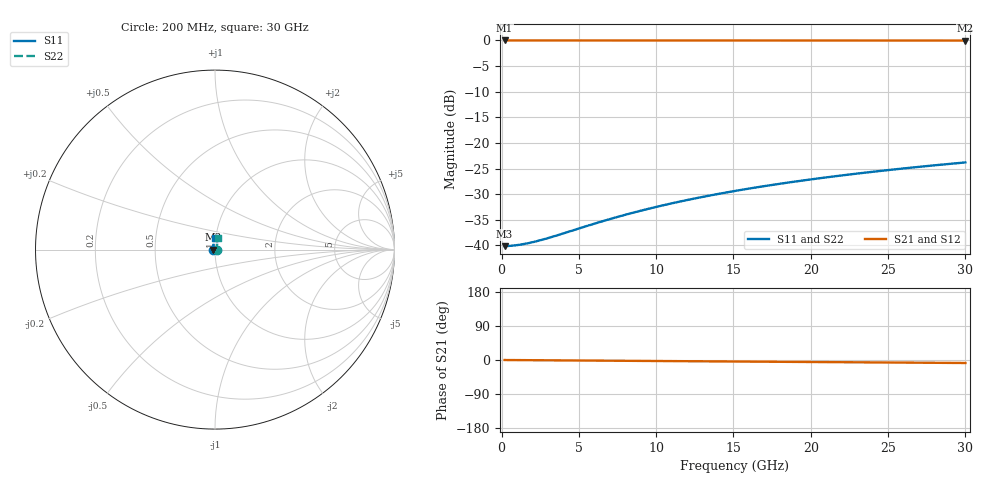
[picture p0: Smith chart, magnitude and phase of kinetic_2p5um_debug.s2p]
! Touchstone file exported from HFSS 2026.1.0
!  Generated:  11:50:49 AM Aug 24, 2026
!  Design:  HFSSDesign_Kinetic_debug
!  Project:  kinetic_stub_sweep
!  Setup:  Setup1
!  Solution:  Sweep_discrete_debug
! Variables:
!  stub_length = 2.5um
# GHz S MA R 50.000000
! Terminal data exported
! Port[1] = Port1
! Port[2] = Port2
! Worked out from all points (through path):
!   61 points, 200 MHz to 30 GHz, reference 50 ohm
!   highest |S21| = 0.00 dB at 200 MHz (marker M1); lowest = 0.0 dB at 30 GHz (marker M2)
!   group delay of S21, straight-line fit = 733 fs
!   lowest |S11| = -40.1 dB at 200 MHz (marker M3), VSWR 1.02, Z = 49 + j0.0434 ohm
!   |S11| at or under -10 dB: start of sweep to end of sweep
!   |S22| runs from -40.1 to -23.8 dB; largest |S21 - S12| = 1.5e-12
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0.2  0.009835 177.4  1 -0.1  1 -0.1  0.009835 2.5
! Gamma 1.31840650613476E-31 167.210279057433 4.23870525183608E-32 169.078208790485
! Port Impedance 50 0 50 0
0.6966667  0.009941 171.1  1 -0.2  1 -0.2  0.009941 8.5
1.193333  0.01016 164.9  0.9999 -0.3  0.9999 -0.3  0.01016 14.4
1.69  0.01049 159.1  0.9999 -0.4  0.9999 -0.4  0.01049 20.0
2.186667  0.01091 153.7  0.9999 -0.6  0.9999 -0.6  0.01091 25.2
3.18  0.012 144.1  0.9999 -0.8  0.9999 -0.8  0.012 34.2
5.166667  0.01489 129.9  0.9999 -1.4  0.9999 -1.4  0.01489 47.3
6.656667  0.01744 122.5  0.9998 -1.8  0.9998 -1.8  0.01744 54.0
8.146667  0.02018 117.0  0.9998 -2.2  0.9998 -2.2  0.02018 58.7
9.14  0.02207 114.0  0.9998 -2.4  0.9998 -2.4  0.02207 61.2
10.63  0.02499 110.3  0.9997 -2.8  0.9997 -2.8  0.02499 64.1
11.62333  0.02696 108.3  0.9996 -3.1  0.9996 -3.1  0.02696 65.6
12.61667  0.02896 106.5  0.9996 -3.3  0.9996 -3.3  0.02896 66.9
13.61  0.03097 104.8  0.9995 -3.6  0.9995 -3.6  0.03097 68.0
15.1  0.034 102.7  0.9994 -4.0  0.9994 -4.0  0.034 69.3
16.09333  0.03603 101.5  0.9994 -4.3  0.9994 -4.3  0.03603 70.0
17.58333  0.03909 99.8  0.9992 -4.6  0.9992 -4.6  0.03909 70.9
20.06667  0.0442 97.4  0.999 -5.3  0.999 -5.3  0.0442 72.0
22.55  0.04931 95.3  0.9988 -6.0  0.9988 -6.0  0.04931 72.7
25.53  0.05542 93.3  0.9985 -6.7  0.9985 -6.7  0.05542 73.2
27.51667  0.05948 92.1  0.9982 -7.3  0.9982 -7.3  0.05948 73.4
30  0.06453 90.7  0.9979 -7.9  0.9979 -7.9  0.06453 73.5
